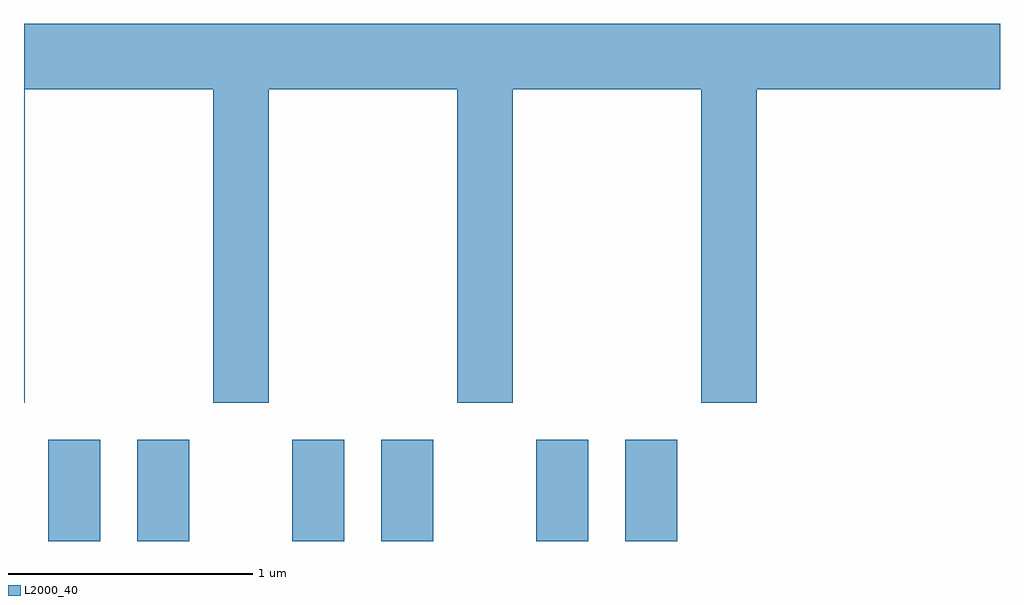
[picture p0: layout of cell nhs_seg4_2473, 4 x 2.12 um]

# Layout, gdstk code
import gdstk
lib = gdstk.Library(unit=1e-6, precision=1e-09)
def R(c, l, rs):  # rectangles x0, y0, x1, y1
    for r in rs: c.add(gdstk.rectangle(r[:2], r[2:], *l))
def P(c, l, *ps):  # polygons
    for p in ps: c.add(gdstk.Polygon(p, *l))
L2000_40 = (2000, 40)

nhs_seg4_2473 = lib.new_cell('nhs_seg4_2473')
R(nhs_seg4_2473, L2000_40, [(257.711,1303.982,257.924,1304.399), (258.076,1303.982,258.289,1304.399), (258.711,1303.982,258.924,1304.399), (259.076,1303.982,259.289,1304.399), (259.711,1303.982,259.924,1304.399), (260.076,1303.982,260.289,1304.399)])
P(nhs_seg4_2473, L2000_40, [(257.614,1305.836),(258.386,1305.836),(258.386,1304.551),(258.614,1304.551),(258.614,1305.836),(259.386,1305.836),(259.386,1304.551),(259.614,1304.551),(259.614,1305.836),(260.386,1305.836),(260.386,1304.551),(260.614,1304.551),(260.614,1305.836),(261.611,1305.836),(261.611,1306.104),(257.611,1306.104),(257.611,1304.551),(257.614,1304.551)])

lib.write_gds('nhs_seg4_2473.gds')
